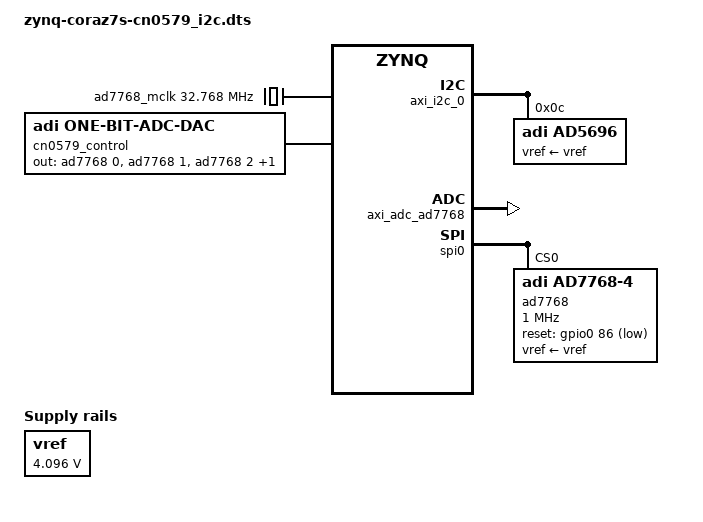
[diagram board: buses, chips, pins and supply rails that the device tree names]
// SPDX-License-Identifier: GPL-2.0
/*
 * Analog Devices CN0579
 * https://www.analog.com/en/products/ad7768.html
 *
 * hdl_project: <cn0579/coraz7s>
 * board_revision: <A>
 *
 * Copyright (C) 2023 Analog Devices Inc.
 */
/dts-v1/;
#include "zynq-coraz7s.dtsi"
#include <dt-bindings/interrupt-controller/irq.h>
#include <dt-bindings/gpio/gpio.h>

/ {
	vref: regulator-vref {
		compatible = "regulator-fixed";
		regulator-name = "fixed-supply";
		regulator-min-microvolt = <4096000>;
		regulator-max-microvolt = <4096000>;
		regulator-always-on;
	};

	clocks {
		ad7768_mclk: clock@0 {
			#clock-cells = <0>;
			compatible = "fixed-clock";
			clock-frequency = <32768000>;
		};
	};

	cn0579_control@0 {
		compatible = "adi,one-bit-adc-dac";
		#address-cells = <1>;
		#size-cells = <0>;

		out-gpios = <&ad7768 0 0>, <&ad7768 1 0>, <&ad7768 2 0>, <&ad7768 3 0>;
		label = "cn0579_control";

		channel@0 {
			reg = <0>;
			label = "CC_CH0";
		};

		channel@1 {
			reg = <1>;
			label = "CC_CH1";
		};

		channel@2 {
			reg = <2>;
			label = "CC_CH2";
		};

		channel@3 {
			reg = <3>;
			label = "CC_CH3";
		};
	};
};

&fpga_axi {
	rx_dma: dma@44a30000 {
		compatible = "adi,axi-dmac-1.00.a";
		reg = <0x44a30000 0x1000>;
		#dma-cells = <1>;
		interrupt-parent = <&intc>;
		interrupts = <0 57 IRQ_TYPE_LEVEL_HIGH>;
		clocks = <&clkc 16>;

		adi,channels {
			#size-cells = <0>;
			#address-cells = <1>;

			dma-channel@0 {
				reg = <0>;
				adi,source-bus-width = <128>;
				adi,source-bus-type = <2>;
				adi,destination-bus-width = <64>;
				adi,destination-bus-type = <0>;
			};
		};
	};

	axi_i2c_0: i2c@44a40000{
		compatible = "xlnx,axi-iic-1.02.a", "xlnx,xps-iic-2.00.a";
		reg = <0x44a40000 0x1000>;
		interrupt-parent = <&intc>;
		interrupts = <0 56 IRQ_TYPE_LEVEL_HIGH>;
		clocks = <&clkc 15>;

		#address-cells = <1>;
		#size-cells = <0>;

		ad5696: dac@c {
			compatible = "adi,ad5696";
			reg = <0x0c>;
			vref-supply = <&vref>;

		};
	};

	axi_adc_ad7768: cf_axi_adc@44a00000{
		compatible = "adi,axi-adc-10.0.a";
		reg = <0x44a00000 0x10000>;
		dmas = <&rx_dma 0>;
		dma-names = "rx";
		spibus-connected = <&ad7768>;
	};
};

&spi0 {
	status = "okay";

	ad7768: adc@0 {
		compatible = "adi,ad7768-4";
		reg = <0>;
		spi-max-frequency = <1000000>;
		vref-supply = <&vref>;
		reset-gpios = <&gpio0 86 GPIO_ACTIVE_LOW>;
		clocks = <&ad7768_mclk>;
		clock-names = "mclk";
		adi,data-lines = <4>;
		gpio-controller;
		#gpio-cells = <2>;
	};
};

